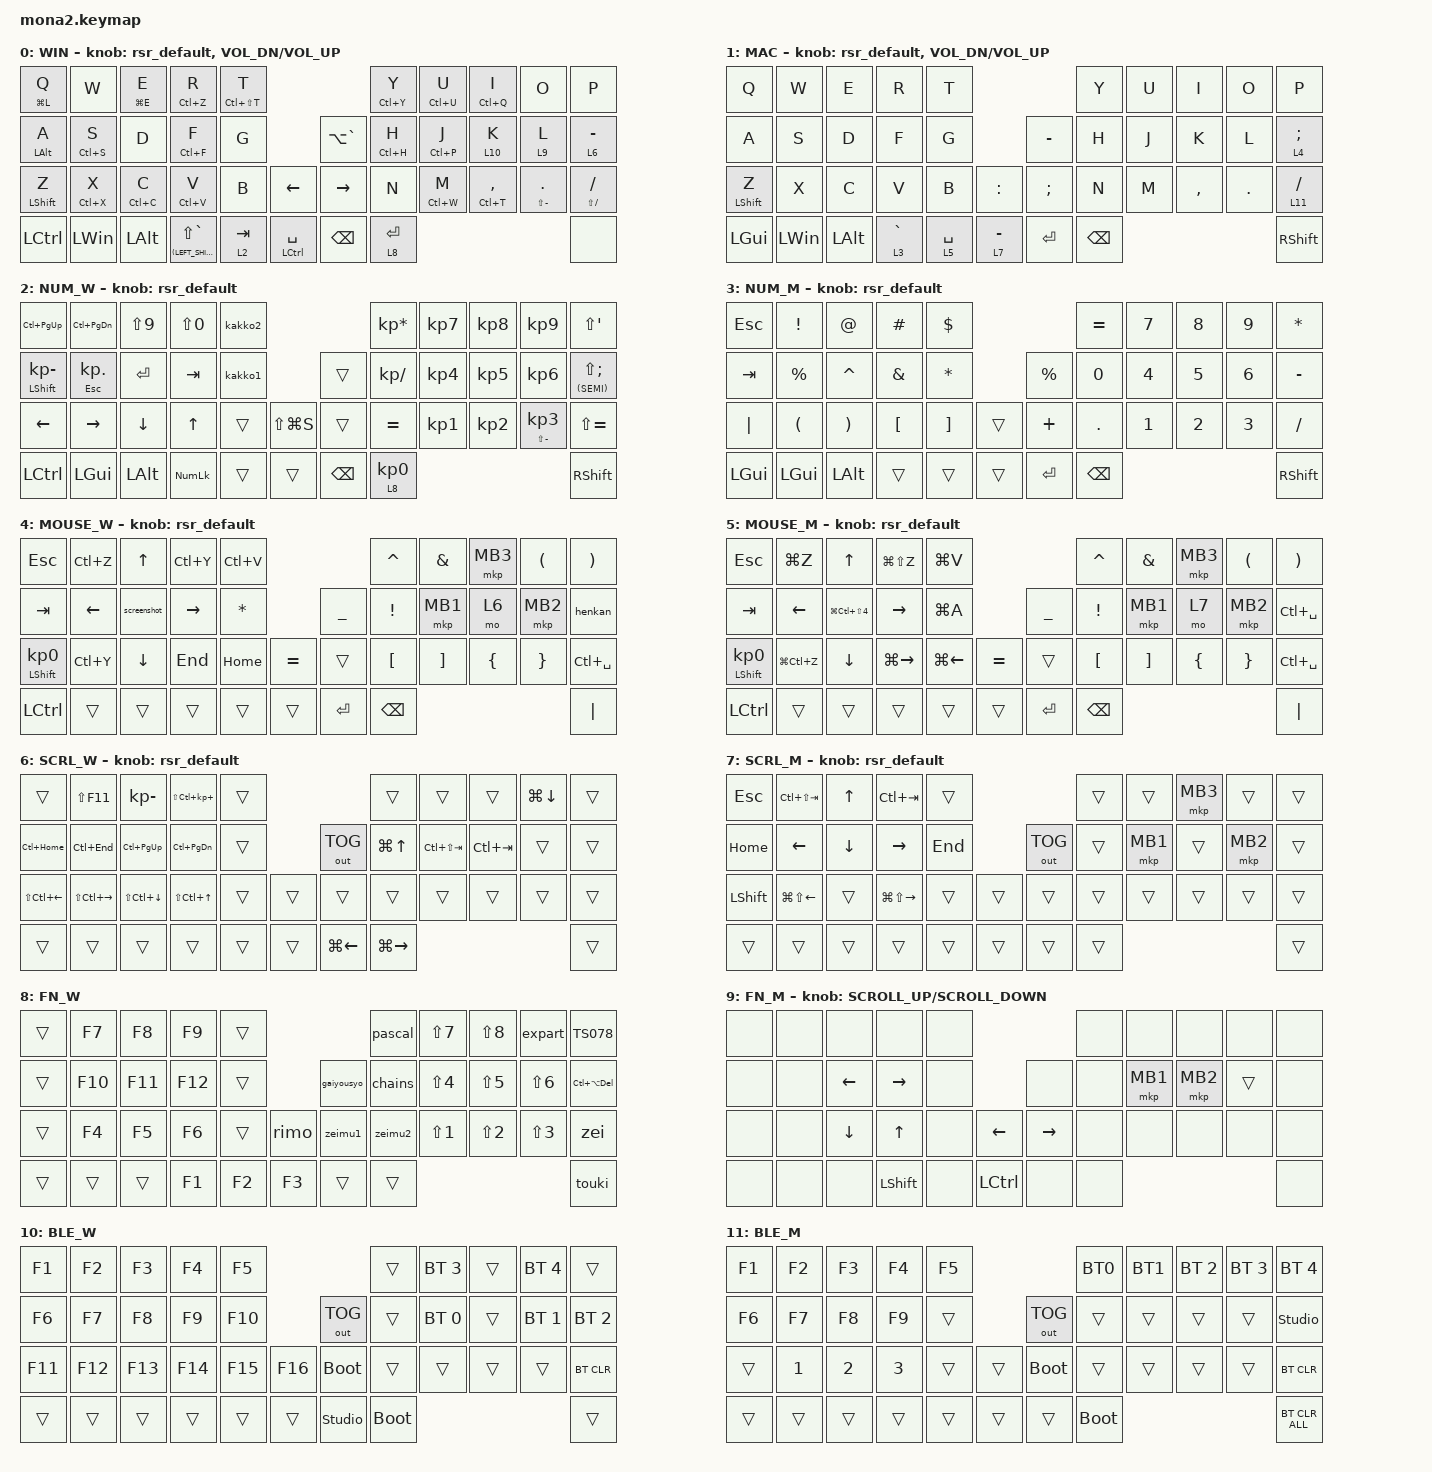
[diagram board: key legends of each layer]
#include <input/processors.dtsi>
#include <dt-bindings/zmk/input_transform.h>
#include <zephyr/dt-bindings/input/input-event-codes.h>
#include <behaviors/runtime-sensor-rotate.dtsi>

/* DYA Studio から作成したマクロを呼び出す `&rmacro <slot>` を定義する。
   slot は 0 〜 CONFIG_ZMK_RUNTIME_MACRO_COUNT-1 (現状 0〜7)。
   どのマクロがどのスロットに入っているかは DYA Studio のマクロ一覧で確認する。
   キーへの割り当ては DYA Studio のキーマップエディタからも行える。 */

#include <behaviors/runtime_macro.dtsi>

/* デフォルトレイヤー変更 behavior `&df`。
   DYA Studio の「OSごとのデフォルトレイヤー」から設定できるほか、
   キーマップエディタで `&df DF_SEL <layer>` / `&df DF_INC` を
   任意のキーに割り当てられる。 */

#include <behaviors/default_layer.dtsi>
#include <dt-bindings/zmk_behavior_default_layer/default_layer.h>
#include <behaviors.dtsi>
#include <dt-bindings/zmk/bt.h>
#include <dt-bindings/zmk/keys.h>
#include <dt-bindings/zmk/outputs.h>
#include <dt-bindings/zmk/pointing.h>

/* ZMK 側で 10 が定義済みなので警告回避のため一旦 undef */

#undef ZMK_POINTING_DEFAULT_SCRL_VAL

#define ZMK_POINTING_DEFAULT_SCRL_VAL 100

/ {
    behaviors {
        mg_set_0: behavior_mg_set_0 {
            compatible = "zmk,behavior-mg-set-fixed";
            #binding-cells = <0>;
            display-name = "Mouse Gesture Key 0";
        };

        mg_set_1: behavior_mg_set_1 {
            compatible = "zmk,behavior-mg-set-fixed";
            #binding-cells = <0>;
            display-name = "Mouse Gesture Key 1";
        };

        mg_set_2: behavior_mg_set_2 {
            compatible = "zmk,behavior-mg-set-fixed";
            #binding-cells = <0>;
            display-name = "Mouse Gesture Key 2";
        };
    };
};

&mt {
    flavor = "balanced";
    quick-tap-ms = <300>;
};

&lt {
    quick-tap-ms = <300>;
    flavor = "balanced";
};

&msc {
    delay-ms = <0>;
    time-to-max-speed-ms = <0>;
    acceleration-exponent = <0>;
};

/ {
    /* ─────────────────────────────────────────────────────────────
       コンボ (DYA Studio から編集可能)

       旧 `combos { compatible = "zmk,combos"; }` はコンパイル時固定で
       DYA Studio から編集できないため、zmk-feature-runtime-combo の
       「コンパイル時デフォルト」ノードへ移行した。
       ここに書いた内容はフラッシュ直後から有効で、設定を消しても復活する。
       DYA Studio 側で編集するとそのスロットだけ上書きされ、
       Web UI の "Reset to Default" でここの値へ戻せる。

       スロット総数は CONFIG_ZMK_RUNTIME_COMBO_MAX_COMBOS (現状 16)。
       未使用スロット (2〜15) は DYA Studio から自由に追加できる。
       ────────────────────────────────────────────────────────── */

    runtime_combo_defaults {
        compatible = "cormoran,runtime-combo-defaults";

        layer4_ESC {
            slot = <0>;
            display-name = "Layer4 ESC";
            key-positions = <38 39>;
            bindings = <&lt 4 ESC>;
        };

        tab {
            slot = <1>;
            display-name = "Tab";
            key-positions = <11 12>;
            bindings = <&kp TAB>;
        };
    };

    /* 静的マクロ。キーマップ上で &BT0 / &screenshot などの名前で直接
       参照しているため、そのまま残している (DYA Studio 上では編集不可)。
       DYA Studio から編集したいマクロは Web UI で新規作成し、
       キーに `&rmacro <slot>` を割り当てて使う。 */

    macros {
        to_layer_0: to_layer_0 {
            compatible = "zmk,behavior-macro-one-param";
            #binding-cells = <1>;
            bindings = <&to 0 &macro_param_1to1 &kp MACRO_PLACEHOLDER>;
            label = "TO_LAYER_0";
        };

        BT0: BT0 {
            compatible = "zmk,behavior-macro";
            #binding-cells = <0>;
            bindings =
                <&tog_off 0 &tog_off 1>,
                <&macro_wait_time 200>,
                <&bt BT_SEL 0>,
                <&macro_wait_time 500>,
                <&tog_on 0>;

            label = "BT0";
        };

        BT1: BT1 {
            compatible = "zmk,behavior-macro";
            #binding-cells = <0>;
            bindings =
                <&tog_off 0 &tog_off 1>,
                <&macro_wait_time 200>,
                <&bt BT_SEL 1>,
                <&macro_wait_time 500>,
                <&tog_on 1>;

            label = "BT1";
        };

        screenshot: screenshot {
            compatible = "zmk,behavior-macro";
            #binding-cells = <0>;
            bindings =
                <&macro_press>,
                <&kp LEFT_GUI &kp RSHIFT>,
                <&macro_wait_time 20>,
                <&macro_tap>,
                <&kp S>,
                <&macro_release>,
                <&kp LEFT_GUI &kp RSHIFT>;

            label = "SCREENSHOT";
        };

        henkan: henkan {
            compatible = "zmk,behavior-macro";
            #binding-cells = <0>;
            bindings =
                <&macro_press>,
                <&kp LEFT_ALT>,
                <&macro_wait_time 20>,
                <&macro_tap>,
                <&kp GRAVE>,
                <&macro_release>,
                <&kp LEFT_ALT>;

            label = "HENKAN";
        };

        chains: chains {
            compatible = "zmk,behavior-macro";
            #binding-cells = <0>;
            bindings = <&kp LANG2 &kp LS(S) &kp LS(A) &kp S &kp N0 &kp N5 &kp N1 &kp N3 &kp N0 &kp N8 &kp RET>;
            label = "CHAINS";
        };

        rimo: rimo {
            compatible = "zmk,behavior-macro";
            #binding-cells = <0>;
            bindings = <&kp LANGUAGE_2 &kp LS(G) &kp B &kp N0 &kp N5 &kp N1 &kp N3 &kp N0 &kp N8 &kp RET>;
            label = "RIMO";
        };

        pascal: pascal {
            compatible = "zmk,behavior-macro";
            #binding-cells = <0>;
            bindings = <&kp LANG2 &kp N1 &kp N2 &kp N1 &kp N0 &kp N0 &kp N2 &kp TAB &kp N0 &kp N1 &kp N1 &kp N1 &kp N7 &kp N0 &kp N3 &kp N0 &kp TAB &kp N0 &kp N1 &kp N1 &kp N1 &kp N7 &kp N0 &kp N3 &kp N0 &kp RET>;
            label = "PASCAL";
        };

        expart: expart {
            compatible = "zmk,behavior-macro";
            #binding-cells = <0>;
            bindings = <&kp LANG2 &kp U &kp S &kp E &kp R &kp N2 &kp N4 &kp TAB &kp LS(Z) &kp LS(T) &kp LS(G) &kp LS(E) &kp LS(N) &kp LS(P) &kp LS(S) &kp LS(Y) &kp RET>;
            label = "EXPART";
        };

        zei: zei {
            compatible = "zmk,behavior-macro";
            #binding-cells = <0>;
            bindings = <&kp LANG2 &kp N4 &kp N3 &kp Z &kp E &kp I &kp AT &kp RET>;
            label = "ZEI";
        };

        TS078: TS078 {
            compatible = "zmk,behavior-macro";
            #binding-cells = <0>;
            bindings = <&kp LANG2 &kp T &kp O &kp U &kp K &kp I &kp LS(T) &kp LS(S) &kp N0 &kp N7 &kp N8 &kp RET>;
            label = "TS078";
        };

        touki: touki {
            compatible = "zmk,behavior-macro";
            #binding-cells = <0>;
            bindings = <&kp LANG2 &kp LS(E) &kp LS(A) &kp LS(S) &kp N9 &kp N9 &kp N5 &kp N8 &kp N5 &kp TAB &kp S &kp MINUS &kp N0 &kp N1 &kp N1 &kp N1 &kp N7 &kp N0 &kp N3 &kp N0 &kp N1 &kp N1 &kp N0 &kp N5 &kp RET>;
            label = "TOUKI";
        };

        gaiyousyo: gaiyousyo {
            compatible = "zmk,behavior-macro";
            #binding-cells = <0>;
            bindings = <&kp LANG2 &kp T &kp O &kp U &kp B &kp U &kp N0 &kp N1 &kp TAB &kp T &kp O &kp U &kp B &kp U &kp N0 &kp N1 &kp RET>;
            label = "GAIYOUSYO";
        };

        zeimu1: zeimu1 {
            compatible = "zmk,behavior-macro";
            #binding-cells = <0>;
            bindings = <&kp LANG2 &kp N0 &kp N1 &kp N1 &kp N1 &kp N7 &kp N0 &kp N3 &kp N0 &kp TAB &kp N0 &kp N1 &kp N1 &kp N1 &kp N7 &kp N0 &kp N3 &kp N0 &kp RET>;
            label = "ZEIMU1";
        };

        zeimu2: zeimu2 {
            compatible = "zmk,behavior-macro";
            #binding-cells = <0>;
            bindings = <&kp LANG2 &kp N0 &kp N1 &kp N1 &kp N1 &kp N7 &kp N0 &kp N3 &kp N0 &kp RET>;
            label = "ZEIMU2";
        };

        kakko1: kakko1 {
            compatible = "zmk,behavior-macro";
            #binding-cells = <0>;
            bindings = <&kp LANGUAGE_1 &kp LPAR &kp RPAR &kp LEFT>;
            label = "KAKKO1";
        };

        kakko2: kakko2 {
            compatible = "zmk,behavior-macro";
            #binding-cells = <0>;
            bindings = <&kp LANG1 &kp K &kp A &kp K &kp K &kp O &kp SPACE>;
            label = "KAKKO2";
        };
    };

    behaviors {
        lt_to_layer_0: lt_to_layer_0 {
            compatible = "zmk,behavior-hold-tap";
            label = "LAYER_TAP_TO_0";
            bindings = <&mo>, <&to_layer_0>;

            #binding-cells = <2>;
            tapping-term-ms = <200>;
        };

        tp_repeat_mo1: tp_repeat_mo1 {
            compatible = "zmk,behavior-hold-tap";
            label = "TP_REPEAT_MO1";
            bindings = <&mo>, <&key_repeat>;

            #binding-cells = <2>;
            tapping-term-ms = <200>;
        };

        // エンコーダ用 runtime-configurable sensor rotate
        // デフォルトはスクロール (cw=SCRL_DOWN, ccw=SCRL_UP)
        // DYA Studio Web UI から レイヤーごとに cw/ccw の binding を
        // kp C_VOL_UP/DN や kp LEFT/RIGHT などへ動的変更可能

        rsr_default: rsr_default {
            compatible = "zmk,behavior-runtime-sensor-rotate";
            #sensor-binding-cells = <0>;
            tap-ms = <16>;
            cw-binding = <&msc SCRL_DOWN>;
            ccw-binding = <&msc SCRL_UP>;
        };

        tog_on: toggle_layer_on_only {
            compatible = "zmk,behavior-toggle-layer";
            #binding-cells = <1>;
            display-name = "Toggle Layer On";
            toggle-mode = "on";
        };

        tog_off: toggle_layer_off_only {
            compatible = "zmk,behavior-toggle-layer";
            #binding-cells = <1>;
            display-name = "Toggle Layer Off";
            toggle-mode = "off";
        };

        zfold: zfold {
            compatible = "zmk,behavior-hold-tap";
            label = "ZFOLD";
            bindings = <&kp>, <&kp>;

            #binding-cells = <2>;
            tapping-term-ms = <300>;
            flavor = "hold-preferred";
            quick-tap-ms = <150>;
            hold-while-undecided;
        };

        zfoldZ: zfoldZ {
            compatible = "zmk,behavior-tap-dance";
            label = "ZFOLDZ";
            #binding-cells = <0>;
            bindings = <&zfold LEFT_SHIFT Z>, <&kp LS(Z)>;
        };
    };

    combos {
        compatible = "zmk,combos";

        kakudai {
            bindings = <&kp LC(KP_PLUS)>;
            key-positions = <24 23>;
        };

        syukusyou {
            bindings = <&kp LC(KP_MINUS)>;
            key-positions = <22 23>;
        };

        modoru {
            bindings = <&mkp MB4>;
            key-positions = <29 30>;
        };

        susumu {
            bindings = <&mkp MB5>;
            key-positions = <30 31>;
        };

        windowitiran {
            bindings = <&kp LG(TAB)>;
            key-positions = <1 2>;
        };

        del {
            bindings = <&kp DEL>;
            key-positions = <2 3>;
        };

        lckick {
            bindings = <&mkp MB1>;
            key-positions = <18 19>;
        };

        rclick {
            bindings = <&mkp MB2>;
            key-positions = <19 17>;
        };

        mclick {
            bindings = <&mkp MB3>;
            key-positions = <17 19 18>;
        };

        mouseje {
            bindings = <&mg_set_0>;
            key-positions = <19 20>;
        };

        lefthand_leftclick {
            bindings = <&mkp MB1>;
            key-positions = <12 11>;
        };

        bt0 {
            bindings = <&bt BT_SEL 0>;
            key-positions = <6 7>;
        };

        bt1 {
            bindings = <&bt BT_SEL 1>;
            key-positions = <7 8>;
        };

        shifttab {
            bindings = <&kp LS(TAB)>;
            key-positions = <11 10>;
        };

        hidari_rightclik {
            bindings = <&mkp MB2>;
            key-positions = <13 11>;
        };

        hidari_middleclik {
            bindings = <&mkp MB3>;
            key-positions = <11 12 13>;
        };

        eisu {
            bindings = <&kp LANGUAGE_2>;
            key-positions = <13 12>;
        };

        kana {
            bindings = <&kp LANGUAGE_1>;
            key-positions = <17 18>;
        };
    };

    keymap {
        compatible = "zmk,keymap";

        win_layer {
            display-name = "WIN";
            bindings = <
&mt LG(L) Q       &kp W         &mt LG(E) E   &mt LC(Z) R                 &mt LC(LS(T)) T                                           &mt LC(Y) Y  &mt LC(U) U  &mt LC(Q) I      &kp O              &kp P
&mt LEFT_ALT A    &mt LC(S) S   &kp D         &mt LC(F) F                 &kp G                                      &kp LA(GRAVE)  &mt LC(H) H  &mt LC(P) J  &lt 10 K         &lt 9 L            &lt 6 MINUS
&mt LEFT_SHIFT Z  &mt LC(X) X   &mt LC(C) C   &mt LC(V) V                 &kp B            &kp LEFT                  &kp RIGHT      &kp N        &mt LC(W) M  &mt LC(T) COMMA  &mt LS(MINUS) DOT  &mt LS(SLASH) SLASH
&kp LEFT_CONTROL  &kp LEFT_WIN  &kp LEFT_ALT  &mt (LEFT_SHIFT) LS(GRAVE)  &lt 2 TAB        &mt LEFT_CONTROL SPACE    &kp BACKSPACE  &lt 8 ENTER                                                   &none
            >;

            sensor-bindings = <&rsr_default>, <&inc_dec_kp C_VOL_DN C_VOL_UP>;
        };

        mac_layer {
            display-name = "MAC";
            bindings = <
&kp Q             &kp W         &kp E         &kp R        &kp T                                      &kp Y          &kp U  &kp I      &kp O    &kp P
&kp A             &kp S         &kp D         &kp F        &kp G                       &kp MINUS      &kp H          &kp J  &kp K      &kp L    &lt 4 SEMICOLON
&mt LEFT_SHIFT Z  &kp X         &kp C         &kp V        &kp B        &kp COLON      &kp SEMICOLON  &kp N          &kp M  &kp COMMA  &kp DOT  &lt 11 SLASH
&kp LEFT_GUI      &kp LEFT_WIN  &kp LEFT_ALT  &lt 3 GRAVE  &lt 5 SPACE  &lt 7 MINUS    &kp ENTER      &kp BACKSPACE                             &kp RIGHT_SHIFT
            >;

            sensor-bindings = <&rsr_default>, <&inc_dec_kp C_VOL_DN C_VOL_UP>;
        };

        num_win {
            display-name = "NUM_W";
            bindings = <
&kp LC(PAGE_UP)          &kp LC(PAGE_DOWN)  &kp LS(N9)      &kp LS(N0)      &kakko2                                  &kp KP_ASTERISK    &kp KP_NUMBER_7  &kp KP_NUMBER_8  &kp KP_NUMBER_9            &kp LS(APOS)
&mt LEFT_SHIFT KP_MINUS  &mt ESC KP_DOT     &kp ENTER       &kp TAB         &kakko1                   &trans         &kp KP_SLASH       &kp KP_NUMBER_4  &kp KP_NUMBER_5  &kp KP_NUMBER_6            &mt (SEMI) LS(SEMI)
&kp LEFT                 &kp RIGHT          &kp DOWN_ARROW  &kp UP_ARROW    &trans   &kp LS(LG(S))    &trans         &kp EQUAL          &kp KP_NUMBER_1  &kp KP_NUMBER_2  &mt LS(MINUS) KP_NUMBER_3  &kp LS(EQUAL)
&kp LCTRL                &kp LEFT_GUI       &kp LEFT_ALT    &kp KP_NUMLOCK  &trans   &trans           &kp BACKSPACE  &lt 8 KP_NUMBER_0                                                               &kp RIGHT_SHIFT
            >;

            sensor-bindings = <&rsr_default>;
        };

        num_mac {
            display-name = "NUM_M";
            bindings = <
&kp ESCAPE    &kp EXCLAMATION       &kp AT_SIGN            &kp HASH          &kp DOLLAR                                &kp EQUAL      &kp NUMBER_7  &kp NUMBER_8  &kp NUMBER_9  &kp ASTERISK
&kp TAB       &kp PERCENT           &kp CARET              &kp AMPERSAND     &kp ASTERISK                 &kp PERCENT  &kp NUMBER_0   &kp NUMBER_4  &kp NUMBER_5  &kp NUMBER_6  &kp MINUS
&kp PIPE      &kp LEFT_PARENTHESIS  &kp RIGHT_PARENTHESIS  &kp LEFT_BRACKET  &kp RIGHT_BRACKET  &trans    &kp PLUS     &kp DOT        &kp NUMBER_1  &kp NUMBER_2  &kp NUMBER_3  &kp SLASH
&kp LEFT_GUI  &kp LEFT_GUI          &kp LEFT_ALT           &trans            &trans             &trans    &kp ENTER    &kp BACKSPACE                                            &kp RIGHT_SHIFT
            >;

            sensor-bindings = <&rsr_default>;
        };

        mouse_win {
            display-name = "MOUSE_W";
            bindings = <
&kp ESCAPE                  &kp LC(Z)       &kp UP_ARROW    &kp LC(Y)        &kp LC(V)                                  &kp CARET         &kp AMPERSAND      &mkp MB3        &kp LEFT_PARENTHESIS  &kp RIGHT_PARENTHESIS
&kp TAB                     &kp LEFT_ARROW  &screenshot     &kp RIGHT_ARROW  &kp ASTERISK               &kp UNDERSCORE  &kp EXCLAMATION   &mkp MB1           &mo 6           &mkp MB2              &henkan
&mt LEFT_SHIFT KP_NUMBER_0  &kp LC(Y)       &kp DOWN_ARROW  &kp END          &kp HOME      &kp EQUAL    &trans          &kp LEFT_BRACKET  &kp RIGHT_BRACKET  &kp LEFT_BRACE  &kp RIGHT_BRACE       &kp LC(SPACE)
&kp LCTRL                   &trans          &trans          &trans           &trans        &trans       &kp ENTER       &kp BACKSPACE                                                              &kp PIPE
            >;

            sensor-bindings = <&rsr_default>;
        };

        mouse_mac {
            display-name = "MOUSE_M";
            bindings = <
&kp ESCAPE                  &kp LG(Z)       &kp UP_ARROW              &kp LG(LS(Z))    &kp LG(V)                                  &kp CARET         &kp AMPERSAND      &mkp MB3        &kp LEFT_PARENTHESIS  &kp RIGHT_PARENTHESIS
&kp TAB                     &kp LEFT_ARROW  &kp LG(LC(LS(NUMBER_4)))  &kp RIGHT_ARROW  &kp LG(A)                  &kp UNDERSCORE  &kp EXCLAMATION   &mkp MB1           &mo 7           &mkp MB2              &kp LC(SPACE)
&mt LEFT_SHIFT KP_NUMBER_0  &kp LG(LC(Z))   &kp DOWN_ARROW            &kp LG(RIGHT)    &kp LG(LEFT)  &kp EQUAL    &trans          &kp LEFT_BRACKET  &kp RIGHT_BRACKET  &kp LEFT_BRACE  &kp RIGHT_BRACE       &kp LC(SPACE)
&kp LCTRL                   &trans          &trans                    &trans           &trans        &trans       &kp ENTER       &kp BACKSPACE                                                              &kp PIPE
            >;

            sensor-bindings = <&rsr_default>;
        };

        scroll_win {
            display-name = "SCRL_W";
            bindings = <
&trans            &kp LS(F11)        &kp KP_MINUS      &kp LS(LC(KP_PLUS))   &trans                          &trans            &trans           &trans       &kp LG(DOWN_ARROW)  &trans
&kp LC(HOME)      &kp LC(END)        &kp LC(PAGE_UP)   &kp LC(PAGE_DOWN)     &trans            &out OUT_TOG  &kp LG(UP_ARROW)  &kp LC(LS(TAB))  &kp LC(TAB)  &trans              &trans
&kp LS(LC(LEFT))  &kp LS(LC(RIGHT))  &kp LS(LC(DOWN))  &kp LS(LC(UP_ARROW))  &trans  &trans    &trans        &trans            &trans           &trans       &trans              &trans
&trans            &trans             &trans            &trans                &trans  &trans    &kp LG(LEFT)  &kp LG(RIGHT)                                                       &trans
            >;

            sensor-bindings = <&rsr_default>;
        };

        scroll_mac {
            display-name = "SCRL_M";
            bindings = <
&kp ESCAPE      &kp LC(LS(TAB))         &kp UP_ARROW    &kp LC(TAB)              &trans                           &trans  &trans    &mkp MB3  &trans    &trans
&kp HOME        &kp LEFT_ARROW          &kp DOWN_ARROW  &kp RIGHT_ARROW          &kp END            &out OUT_TOG  &trans  &mkp MB1  &trans    &mkp MB2  &trans
&kp LEFT_SHIFT  &kp LG(LS(LEFT_ARROW))  &trans          &kp LG(LS(RIGHT_ARROW))  &trans   &trans    &trans        &trans  &trans    &trans    &trans    &trans
&trans          &trans                  &trans          &trans                   &trans   &trans    &trans        &trans                                &trans
            >;

            sensor-bindings = <&rsr_default>;
        };

        function_win {
            display-name = "FN_W";
            bindings = <
&trans  &kp F7   &kp F8   &kp F9   &trans                        &pascal  &kp LS(N7)        &kp LS(N8)        &expart           &TS078
&trans  &kp F10  &kp F11  &kp F12  &trans            &gaiyousyo  &chains  &kp LS(NUMBER_4)  &kp LS(N5)        &kp LS(NUMBER_6)  &kp LC(LA(DEL))
&trans  &kp F4   &kp F5   &kp F6   &trans  &rimo     &zeimu1     &zeimu2  &kp LS(NUMBER_1)  &kp LS(NUMBER_2)  &kp LS(NUMBER_3)  &zei
&trans  &trans   &trans   &kp F1   &kp F2  &kp F3    &trans      &trans                                                         &touki
            >;
        };

        function_mac {
            display-name = "FN_M";
            bindings = <
&none  &none  &none     &none           &none                                 &none  &none     &none     &none   &none
&none  &none  &kp LEFT  &kp RIGHT       &none                      &none      &none  &mkp MB1  &mkp MB2  &trans  &none
&none  &none  &kp DOWN  &kp UP_ARROW    &none  &kp LEFT            &kp RIGHT  &none  &none     &none     &none   &none
&none  &none  &none     &kp LEFT_SHIFT  &none  &kp LEFT_CONTROL    &none      &none                              &none
            >;

            sensor-bindings = <&inc_dec_kp K_SCROLL_UP K_SCROLL_DOWN>;
        };

        ble_win {
            display-name = "BLE_W";
            bindings = <
&kp F1   &kp F2   &kp F3   &kp F4   &kp F5                              &trans       &bt BT_SEL 3  &trans  &bt BT_SEL 4  &trans
&kp F6   &kp F7   &kp F8   &kp F9   &kp F10             &out OUT_TOG    &trans       &bt BT_SEL 0  &trans  &bt BT_SEL 1  &bt BT_SEL 2
&kp F11  &kp F12  &kp F13  &kp F14  &kp F15  &kp F16    &bootloader     &trans       &trans        &trans  &trans        &bt BT_CLR
&trans   &trans   &trans   &trans   &trans   &trans     &studio_unlock  &bootloader                                      &trans
            >;
        };

        ble_mac {
            display-name = "BLE_M";
            bindings = <
&kp F1  &kp F2        &kp F3        &kp F4        &kp F5                          &BT0         &BT1    &bt BT_SEL 2  &bt BT_SEL 3  &bt BT_SEL 4
&kp F6  &kp F7        &kp F8        &kp F9        &trans            &out OUT_TOG  &trans       &trans  &trans        &trans        &studio_unlock
&trans  &kp NUMBER_1  &kp NUMBER_2  &kp NUMBER_3  &trans  &trans    &bootloader   &trans       &trans  &trans        &trans        &bt BT_CLR
&trans  &trans        &trans        &trans        &trans  &trans    &trans        &bootloader                                      &bt BT_CLR_ALL
            >;
        };
    };
};
